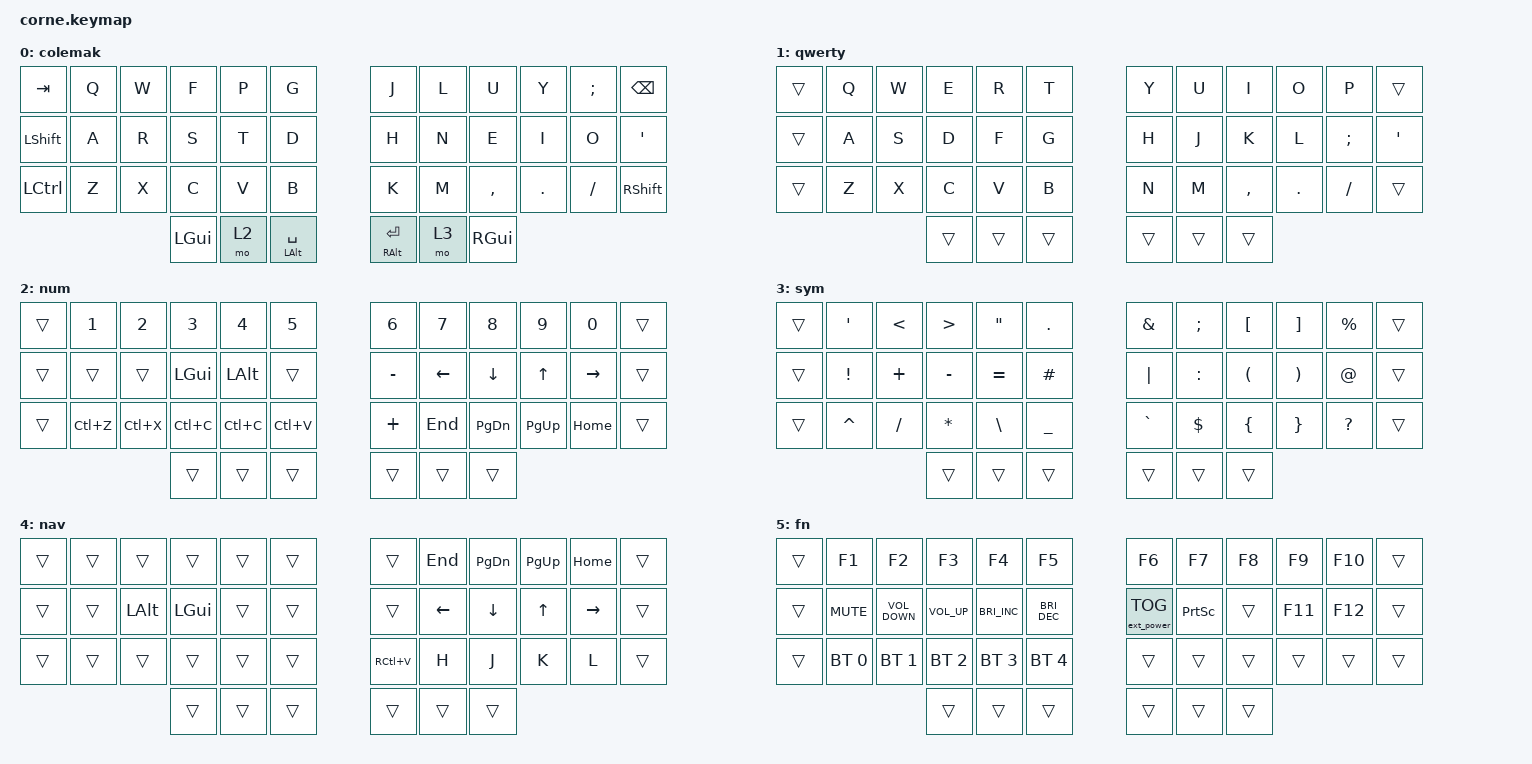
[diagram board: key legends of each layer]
/*
 * Copyright (c) 2020 The ZMK Contributors
 *
 * SPDX-License-Identifier: MIT
 */

#include <behaviors.dtsi>
#include <dt-bindings/zmk/bt.h>
#include <dt-bindings/zmk/ext_power.h>
#include <dt-bindings/zmk/keys.h>

/ {
    combos {
        compatible = "zmk,combos";

        BTCLR {
            bindings = <&bt BT_CLR>;
            key-positions = <0 5 38>;
            timeout-ms = <40>;
            require-prior-idle-ms = <150>;
        };

        colemak {
            bindings = <&to 0>;
            key-positions = <5 6 39>;
            timeout-ms = <40>;
            require-prior-idle-ms = <150>;
        };

        qwerty {
            bindings = <&to 1>;
            key-positions = <5 6 38>;
            timeout-ms = <40>;
            require-prior-idle-ms = <150>;
        };

        fn {
            bindings = <&mo 5>;
            key-positions = <36 41>;
            timeout-ms = <40>;
            require-prior-idle-ms = <150>;
        };

        escq {
            bindings = <&kp ESCAPE>;
            key-positions = <0 1>;
            timeout-ms = <40>;
            require-prior-idle-ms = <150>;
        };

        del {
            bindings = <&kp DELETE>;
            key-positions = <10 11>;
            timeout-ms = <40>;
            require-prior-idle-ms = <150>;
        };

        capsw {
            bindings = <&caps_word>;
            key-positions = <17 18>;
            timeout-ms = <40>;
            require-prior-idle-ms = <150>;
        };
    };

    behaviors {
        taphold: taphold {
            compatible = "zmk,behavior-hold-tap";
            label = "TAPHOLD";
            bindings = <&kp>, <&kp>;

            #binding-cells = <2>;
            tapping-term-ms = <280>;
            quick-tap-ms = <175>;
            flavor = "balanced";
            require-prior-idle-ms = <150>;
            hold-trigger-on-release;
            hold-trigger-key-positions = <11 35 23 39 40 41 38 37 36 0 24 12>;
        };

        taphold_lalt: taphold_lalt {
            compatible = "zmk,behavior-hold-tap";
            label = "TAPHOLD_LALT";
            bindings = <&kp>, <&kp>;

            #binding-cells = <2>;
            tapping-term-ms = <200>;
            quick-tap-ms = <175>;
            flavor = "balanced";
            require-prior-idle-ms = <150>;
        };

        taphold_ralt: taphold_ralt {
            compatible = "zmk,behavior-hold-tap";
            label = "TAPHOLD_RALT";
            bindings = <&kp>, <&kp>;

            #binding-cells = <2>;
            tapping-term-ms = <200>;
            quick-tap-ms = <175>;
            flavor = "balanced";
            require-prior-idle-ms = <150>;
        };

        backspace_delete: backspace_delete {
            compatible = "zmk,behavior-mod-morph";
            label = "BACKSPACE_DELETE";
            bindings = <&kp BACKSPACE>, <&kp DEL>;

            #binding-cells = <0>;
            mods = <(MOD_LSFT|MOD_RSFT)>;
            keep-mods = <(MOD_RSFT)>;
        };
    };

    keymap {
        compatible = "zmk,keymap";

        colemak {
            bindings = <
&kp TAB         &kp Q  &kp W  &kp F         &kp P  &kp G                      &kp J                   &kp L  &kp U          &kp Y    &kp SEMICOLON  &kp BACKSPACE
&kp LEFT_SHIFT  &kp A  &kp R  &kp S         &kp T  &kp D                      &kp H                   &kp N  &kp E          &kp I    &kp O          &kp SQT
&kp LCTRL       &kp Z  &kp X  &kp C         &kp V  &kp B                      &kp K                   &kp M  &kp COMMA      &kp DOT  &kp FSLH       &kp RIGHT_SHIFT
                              &kp LEFT_GUI  &mo 2  &taphold_lalt LEFT_ALT SPACE    &taphold_ralt RIGHT_ALT RET  &mo 3  &kp RIGHT_GUI
            >;
        };

        qwerty {
            // -----------------------------------------------------------------------------------------
            // |  TAB |  Q  |  W  |  E  |  R  |  T  |   |  Y  |  U   |  I  |  O  |  P  | BSPC |
            // | CTRL |  A  |  S  |  D  |  F  |  G  |   |  H  |  J   |  K  |  L  |  ;  |  '   |
            // | SHFT |  Z  |  X  |  C  |  V  |  B  |   |  N  |  M   |  ,  |  .  |  /  | ESC  |
            //                    | GUI | LWR | SPC |   | ENT | RSE  | ALT |

            bindings = <
&trans  &kp Q  &kp W  &kp E   &kp R   &kp T     &kp Y   &kp U   &kp I      &kp O    &kp P     &trans
&trans  &kp A  &kp S  &kp D   &kp F   &kp G     &kp H   &kp J   &kp K      &kp L    &kp SEMI  &kp SQT
&trans  &kp Z  &kp X  &kp C   &kp V   &kp B     &kp N   &kp M   &kp COMMA  &kp DOT  &kp FSLH  &trans
                      &trans  &trans  &trans    &trans  &trans  &trans
            >;
        };

        num {
            // -----------------------------------------------------------------------------------------
            // |  TAB |  !  |  @  |  #  |  $  |  %  |   |  ^  |  &  |  *  |  (  |  )  | BSPC |
            // | CTRL |     |     |     |     |     |   |  -  |  =  |  [  |  ]  |  \  |  `   |
            // | SHFT |     |     |     |     |     |   |  _  |  +  |  {  |  }  | "|" |  ~   |
            //                    | GUI |     | SPC |   | ENT |     | ALT |

            bindings = <
&trans  &kp N1     &kp N2     &kp N3        &kp N4        &kp N5       &kp N6     &kp N7    &kp N8     &kp N9     &kp N0     &trans
&trans  &trans     &trans     &kp LEFT_GUI  &kp LEFT_ALT  &trans       &kp MINUS  &kp LEFT  &kp DOWN   &kp UP     &kp RIGHT  &trans
&trans  &kp LC(Z)  &kp LC(X)  &kp LC(C)     &kp LC(C)     &kp LC(V)    &kp PLUS   &kp END   &kp PG_DN  &kp PG_UP  &kp HOME   &trans
                              &trans        &trans        &trans       &trans     &trans    &trans
            >;
        };

        sym {
            bindings = <
&trans  &kp SINGLE_QUOTE  &kp LESS_THAN  &kp GREATER_THAN  &kp DOUBLE_QUOTES  &kp PERIOD    &kp AMPERSAND  &kp SEMICOLON  &kp LEFT_BRACKET      &kp RIGHT_BRACKET      &kp PERCENT   &trans
&trans  &kp EXCL          &kp PLUS       &kp MINUS         &kp EQUAL          &kp HASH      &kp PIPE       &kp COLON      &kp LEFT_PARENTHESIS  &kp RIGHT_PARENTHESIS  &kp AT        &trans
&trans  &kp CARET         &kp SLASH      &kp STAR          &kp BACKSLASH      &kp UNDER     &kp GRAVE      &kp DOLLAR     &kp LEFT_BRACE        &kp RIGHT_BRACE        &kp QUESTION  &trans
                                         &trans            &trans             &trans        &trans         &trans         &trans
            >;
        };

        nav {
            bindings = <
&trans  &trans  &trans        &trans        &trans  &trans    &trans     &kp END   &kp PAGE_DOWN  &kp PG_UP  &kp HOME   &trans
&trans  &trans  &kp LEFT_ALT  &kp LEFT_GUI  &trans  &trans    &trans     &kp LEFT  &kp DOWN       &kp UP     &kp RIGHT  &trans
&trans  &trans  &trans        &trans        &trans  &trans    &kp RC(V)  &kp H     &kp J          &kp K      &kp L      &trans
                              &trans        &trans  &trans    &trans     &trans    &trans
            >;
        };

        fn {
            bindings = <
&trans  &kp F1        &kp F2             &kp F3           &kp F4                &kp F5                  &kp F6             &kp F7           &kp F8  &kp F9  &kp F10  &trans
&trans  &kp K_MUTE    &kp C_VOLUME_DOWN  &kp C_VOLUME_UP  &kp C_BRIGHTNESS_INC  &kp C_BRIGHTNESS_DEC    &ext_power EP_TOG  &kp PRINTSCREEN  &trans  &kp F11  &kp F12  &trans
&trans  &bt BT_SEL 0  &bt BT_SEL 1       &bt BT_SEL 2     &bt BT_SEL 3          &bt BT_SEL 4            &trans             &trans           &trans  &trans   &trans   &trans
                                         &trans           &trans                &trans                  &trans             &trans           &trans
            >;
        };
    };
};
